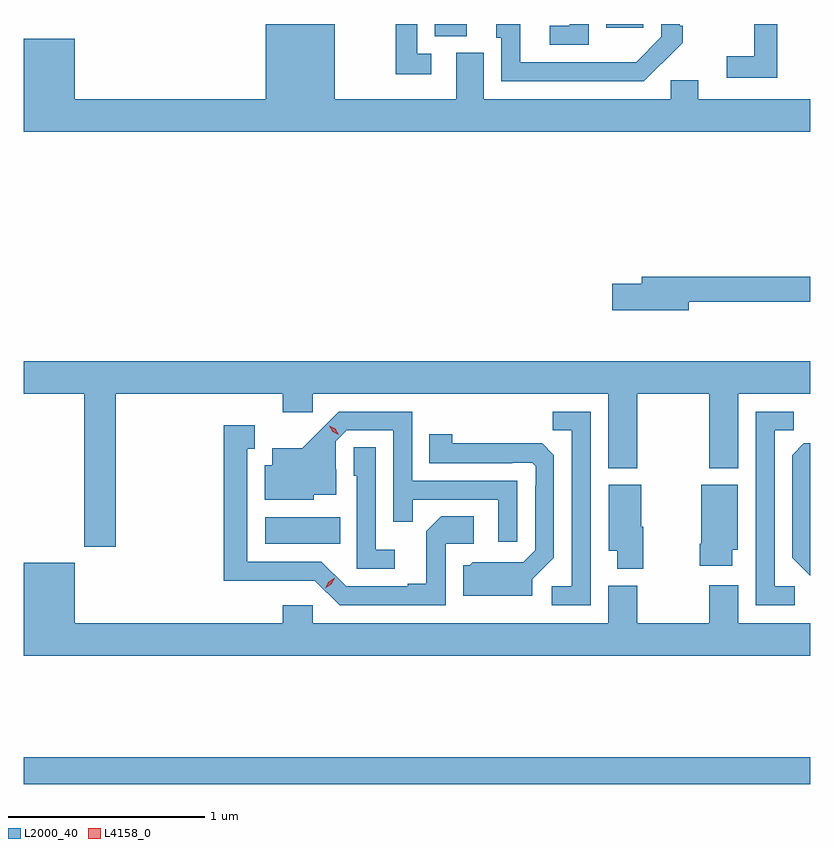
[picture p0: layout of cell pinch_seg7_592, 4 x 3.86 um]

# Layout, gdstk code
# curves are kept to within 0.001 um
import gdstk
lib = gdstk.Library(unit=1e-6, precision=1e-09)
def R(c, l, rs):  # rectangles x0, y0, x1, y1
    for r in rs: c.add(gdstk.rectangle(r[:2], r[2:], *l))
def P(c, l, *ps):  # polygons
    for p in ps: c.add(gdstk.Polygon(p, *l))
L2000_40 = (2000, 40)
L4158_0 = (4158, 0)

pinch_seg7_592 = lib.new_cell('pinch_seg7_592')
R(pinch_seg7_592, L2000_40, [(144.361,1037.26,148.361,1037.396), (145.59,1038.482,145.97,1038.616), (146.45,1041.061,146.614,1041.123), (147.323,1041.105,147.511,1041.123)])
P(pinch_seg7_592, L2000_40, [(148.193,1041.123),(148.076,1041.123),(148.076,1040.959),(147.936,1040.959),(147.936,1040.85),(148.193,1040.85)],
  [(147.605,1040.923),(147.606,1040.922),(147.711,1041.027),(147.711,1041.115),(147.696,1041.115),(147.696,1041.123),(147.603,1041.123),(147.603,1041.057),(147.475,1040.929),(147.371,1040.928),(146.887,1040.928),(146.887,1041.123),(146.765,1041.123),(146.765,1041.054),(146.79,1041.054),(146.79,1040.832),(147.514,1040.832)],
  [(148.361,1040.74),(147.79,1040.74),(147.79,1040.838),(147.651,1040.838),(147.651,1040.74),(146.701,1040.74),(146.701,1040.976),(146.561,1040.976),(146.561,1040.74),(145.942,1040.74),(145.942,1041.123),(145.592,1041.123),(145.592,1040.74),(144.622,1040.74),(144.622,1041.049),(144.361,1041.049),(144.361,1040.576),(148.361,1040.576)],
  [(147.234,1041.123),(147.138,1041.123),(147.138,1041.114),(147.036,1041.114),(147.036,1041.018),(147.234,1041.018)],
  [(146.434,1040.973),(146.361,1040.973),(146.361,1041.123),(146.253,1041.123),(146.253,1040.868),(146.434,1040.868)],
  [(147.742,1039.71),(148.361,1039.71),(148.361,1039.838),(147.503,1039.838),(147.503,1039.802),(147.354,1039.802),(147.354,1039.667),(147.742,1039.667)],
  [(144.83,1039.244),(145.679,1039.244),(145.679,1039.149),(145.83,1039.149),(145.83,1039.244),(147.332,1039.244),(147.332,1038.866),(147.48,1038.866),(147.48,1039.244),(147.847,1039.244),(147.847,1038.866),(147.994,1038.866),(147.994,1039.244),(148.361,1039.244),(148.361,1039.408),(144.361,1039.408),(144.361,1039.244),(144.67,1039.244),(144.67,1038.465),(144.83,1038.465)],
  [(147.243,1039.152),(147.052,1039.152),(147.052,1039.057),(147.147,1039.057),(147.147,1038.264),(147.045,1038.264),(147.045,1038.168),(147.243,1038.168)],
  [(148.282,1038.264),(148.179,1038.264),(148.179,1039.057),(148.275,1039.057),(148.275,1039.152),(148.083,1039.152),(148.083,1038.168),(148.282,1038.168)],
  [(146.871,1038.801),(146.337,1038.801),(146.337,1039.152),(145.964,1039.152),(145.777,1038.967),(145.625,1038.967),(145.625,1038.88),(145.586,1038.88),(145.586,1038.704),(145.836,1038.704),(145.836,1038.731),(145.951,1038.731),(145.951,1038.86),(145.947,1038.86),(145.947,1039.002),(146.004,1039.059),(146.241,1039.059),(146.241,1038.592),(146.339,1038.592),(146.339,1038.705),(146.775,1038.705),(146.775,1038.492),(146.871,1038.492)],
  [(146.508,1038.48),(146.65,1038.48),(146.65,1038.62),(146.485,1038.62),(146.409,1038.544),(146.409,1038.277),(146.315,1038.277),(146.315,1038.264),(146.001,1038.264),(145.875,1038.39),(145.498,1038.39),(145.498,1038.963),(145.537,1038.963),(145.537,1039.084),(145.38,1039.084),(145.38,1038.293),(145.842,1038.294),(145.968,1038.168),(146.508,1038.168)],
  [(146.947,1038.3),(147.057,1038.41),(147.057,1038.932),(146.998,1038.991),(146.541,1038.992),(146.541,1039.039),(146.422,1039.039),(146.422,1038.891),(146.846,1038.891),(146.846,1038.894),(146.946,1038.894),(146.964,1038.876),(146.964,1038.776),(146.961,1038.776),(146.961,1038.447),(146.901,1038.387),(146.644,1038.388),(146.628,1038.372),(146.597,1038.372),(146.597,1038.218),(146.947,1038.218)],
  [(148.361,1038.991),(148.328,1038.991),(148.269,1038.932),(148.269,1038.41),(148.361,1038.318)],
  [(146.248,1038.451),(146.151,1038.451),(146.151,1038.971),(146.04,1038.971),(146.04,1038.828),(146.055,1038.828),(146.055,1038.354),(146.248,1038.354)],
  [(147.51,1038.567),(147.502,1038.567),(147.502,1038.781),(147.335,1038.781),(147.335,1038.446),(147.38,1038.446),(147.38,1038.353),(147.51,1038.353)],
  [(147.964,1038.45),(147.991,1038.45),(147.991,1038.781),(147.806,1038.781),(147.806,1038.481),(147.799,1038.481),(147.799,1038.369),(147.964,1038.369)],
  [(148.361,1038.076),(147.994,1038.076),(147.994,1038.271),(147.847,1038.271),(147.847,1038.076),(147.48,1038.076),(147.48,1038.268),(147.332,1038.268),(147.332,1038.076),(145.83,1038.076),(145.83,1038.169),(145.679,1038.169),(145.679,1038.076),(144.622,1038.076),(144.622,1038.385),(144.361,1038.385),(144.361,1037.912),(148.361,1037.912)])
P(pinch_seg7_592, L4158_0, [(145.963,1039.035),(145.933,1039.05),(145.916,1039.08),(145.916,1039.08),(145.916,1039.08),(145.946,1039.065),(145.964,1039.035),(145.964,1039.035)],
  [(145.894,1038.256),(145.894,1038.256),(145.912,1038.289),(145.943,1038.308),(145.944,1038.308),(145.944,1038.307),(145.926,1038.275),(145.895,1038.256)])

lib.write_gds('pinch_seg7_592.gds')
